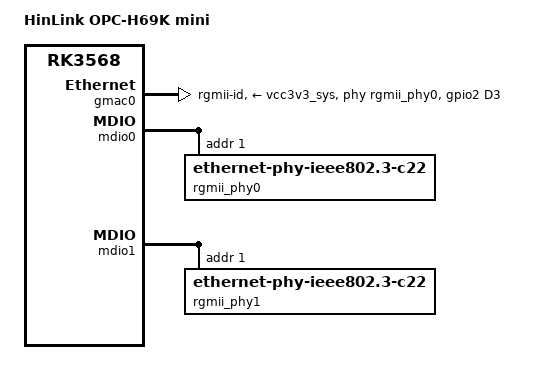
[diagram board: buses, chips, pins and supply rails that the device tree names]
// SPDX-License-Identifier: (GPL-2.0+ OR MIT)
/*
 * HinLink OPC-H69K mini
 *
 * HinLink 适配for immortalwrt —— 每机型独立 DTS，不做自适应。
 *
 * 硬件事实来源：厂商 2024 QWRT R24.07.07 固件 dtb（已解包反编译逐项核对）
 * 蓝本：OpenWrt 主线 rk3568-hinlink-h68k.dts
 *
 * 体积精简版：屏蔽 1 个 GMAC + 1 路 PCIe → 2 口
 */

/dts-v1/;

#include "rk3568-hinlink-opc.dtsi"

/ {
	model = "HinLink OPC-H69K mini";
	compatible = "hinlink,opc-h69k-mini", "rockchip,rk3568";

	aliases {
		ethernet0 = &gmac0;
	};
};
&gmac0 {
	assigned-clocks = <&cru SCLK_GMAC0_RX_TX>, <&cru SCLK_GMAC0>;
	assigned-clock-parents = <&cru SCLK_GMAC0_RGMII_SPEED>;
	assigned-clock-rates = <0>, <125000000>;
	clock_in_out = "output";
	phy-mode = "rgmii-id";
	phy-supply = <&vcc3v3_sys>;
	pinctrl-names = "default";
	pinctrl-0 = <&gmac0_miim
		     &gmac0_tx_bus2
		     &gmac0_rx_bus2
		     &gmac0_rgmii_clk
		     &gmac0_rgmii_bus
		     &gmac0_rstn>;
	snps,reset-gpios = <&gpio2 RK_PD3 GPIO_ACTIVE_LOW>;
	snps,reset-active-low;
	snps,reset-delays-us = <0 20000 100000>;
	tx_delay = <0x3c>;
	rx_delay = <0x2f>;
	phy-handle = <&rgmii_phy0>;
	status = "okay";
};

&gmac1 {
	status = "disabled";
};

&mdio0 {
	rgmii_phy0: ethernet-phy@1 {
		compatible = "ethernet-phy-ieee802.3-c22";
		reg = <0x1>;
	};
};

&mdio1 {
	rgmii_phy1: ethernet-phy@1 {
		compatible = "ethernet-phy-ieee802.3-c22";
		reg = <0x1>;
	};
};

/* 精简版：屏蔽第2 路 PCIe 2.5G */
&combphy2 {
	status = "disabled";
};

&pcie3x2 {
	status = "disabled";
};

&pinctrl {
	gmac {
		gmac0_rstn: gmac0-rstn {
			rockchip,pins = <2 RK_PD3 RK_FUNC_GPIO &pcfg_pull_none>;
		};

		gmac1_rstn: gmac1-rstn {
			rockchip,pins = <1 RK_PB0 RK_FUNC_GPIO &pcfg_pull_none>;
		};
	};
};
